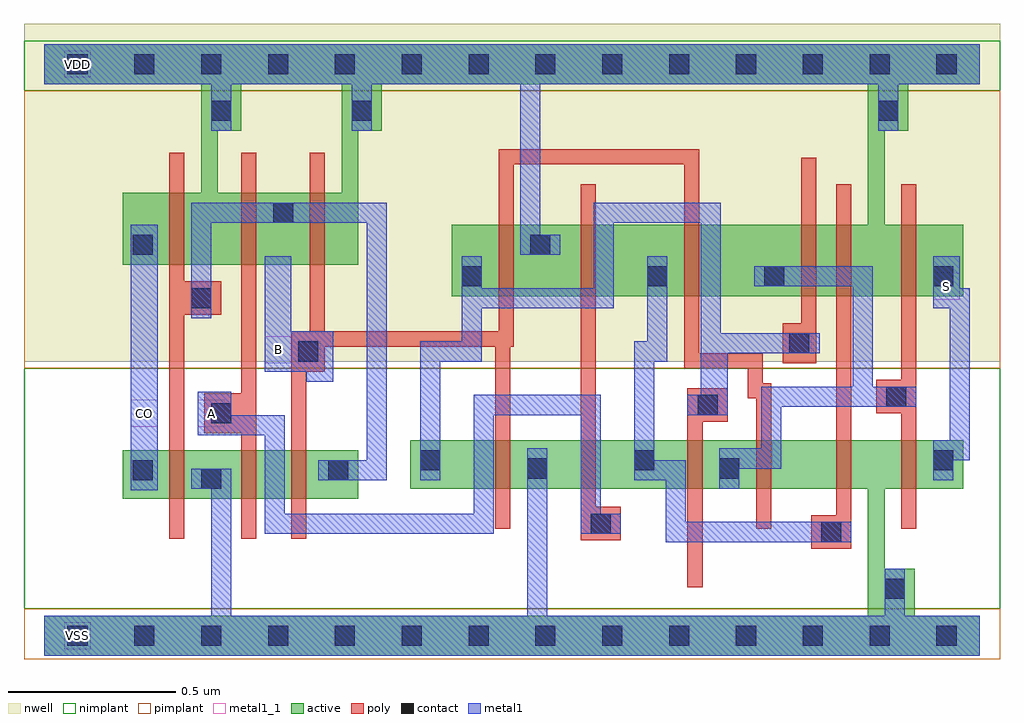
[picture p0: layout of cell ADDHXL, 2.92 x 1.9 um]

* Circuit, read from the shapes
.subckt ADDHXL A B CO S VDD VSS
M1 VSS n1 CO VSS nfet w=0.145u l=0.045u
M2 n2 A VSS VSS nfet w=0.145u l=0.045u
M3 n1 B n2 VSS nfet w=0.145u l=0.045u
M4 VSS B n3 VSS nfet w=0.145u l=0.045u
M5 n4 A VSS VSS nfet w=0.145u l=0.045u
M6 n5 n3 n4 VSS nfet w=0.145u l=0.045u
M7 n6 B n5 VSS nfet w=0.145u l=0.045u
M8 VSS n4 n6 VSS nfet w=0.145u l=0.045u
M9 S n5 VSS VSS nfet w=0.145u l=0.045u
M10 VDD n1 CO VDD pfet w=0.215u l=0.045u
M11 n1 A VDD VDD pfet w=0.215u l=0.045u
M12 VDD B n1 VDD pfet w=0.215u l=0.045u
M13 VDD B n3 VDD pfet w=0.215u l=0.045u
M14 n4 A VDD VDD pfet w=0.215u l=0.045u
M15 n5 B n4 VDD pfet w=0.215u l=0.045u
M16 n7 n3 n5 VDD pfet w=0.215u l=0.045u
M17 VDD n4 n7 VDD pfet w=0.215u l=0.045u
M18 S n5 VDD VDD pfet w=0.215u l=0.045u
.ends

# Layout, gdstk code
import gdstk
lib = gdstk.Library(unit=1e-6, precision=5e-10)
def R(c, l, rs):  # rectangles x0, y0, x1, y1
    for r in rs: c.add(gdstk.rectangle(r[:2], r[2:], *l))
def A(c, l, x, y, w, h, nx, ny, dx, dy):  # array of equal rectangles
    R(c, l, [(x+i*dx, y+j*dy, x+i*dx+w, y+j*dy+h) for i in range(nx) for j in range(ny)])
def P(c, l, *ps):  # polygons
    for p in ps: c.add(gdstk.Polygon(p, *l))
active = (1, 0)
nwell = (2, 0)
poly = (3, 0)
nimplant = (4, 0)
pimplant = (5, 0)
contact = (6, 0)
metal1 = (7, 0)
metal1_1 = (7, 1)

addhxl = lib.new_cell('ADDHXL')
R(addhxl, active, [(0.235,0.41,0.94,0.555)])
P(addhxl, active, [(0,1.77),(2.8,1.77),(2.8,1.65),(2.585,1.65),(2.585,1.51),(2.515,1.51),(2.515,1.23),(2.75,1.23),(2.75,1.015),(1.22,1.015),(1.22,1.23),(2.465,1.23),(2.465,1.65),(1.01,1.65),(1.01,1.51),(0.94,1.51),(0.94,1.11),(0.235,1.11),(0.235,1.325),(0.47,1.325),(0.47,1.65),(0.59,1.65),(0.59,1.51),(0.52,1.51),(0.52,1.325),(0.89,1.325),(0.89,1.65),(0,1.65)],
  [(1.095,0.585),(2.75,0.585),(2.75,0.44),(2.515,0.44),(2.515,0.2),(2.605,0.2),(2.605,0.06),(2.8,0.06),(2.8,-0.06),(0,-0.06),(0,0.06),(2.465,0.06),(2.465,0.44),(1.095,0.44)])
R(addhxl, nwell, [(-0.06,0.82,2.86,1.83)])
P(addhxl, poly, [(0.375,1.445),(0.42,1.445),(0.42,1.06),(0.53,1.06),(0.53,0.96),(0.42,0.96),(0.42,0.29),(0.375,0.29)],
  [(0.59,1.445),(0.635,1.445),(0.635,0.29),(0.59,0.29),(0.59,0.605),(0.48,0.605),(0.48,0.725),(0.59,0.725)],
  [(0.795,1.445),(0.84,1.445),(0.84,0.91),(1.36,0.91),(1.36,1.455),(1.96,1.455),(1.96,0.845),(2.15,0.845),(2.15,0.755),(2.175,0.755),(2.175,0.32),(2.13,0.32),(2.13,0.71),(2.105,0.71),(2.105,0.8),(1.915,0.8),(1.915,1.41),(1.405,1.41),(1.405,0.865),(1.395,0.865),(1.395,0.32),(1.35,0.32),(1.35,0.865),(0.84,0.865),(0.84,0.79),(0.785,0.79),(0.785,0.29),(0.74,0.29),(0.74,0.91),(0.795,0.91)],
  [(1.605,1.35),(1.65,1.35),(1.65,0.385),(1.725,0.385),(1.725,0.285),(1.605,0.285)],
  [(2.265,1.43),(2.31,1.43),(2.31,0.815),(2.21,0.815),(2.21,0.935),(2.265,0.935)],
  [(2.37,1.35),(2.415,1.35),(2.415,0.26),(2.295,0.26),(2.295,0.36),(2.37,0.36)],
  [(2.565,1.35),(2.61,1.35),(2.61,0.32),(2.565,0.32),(2.565,0.665),(2.49,0.665),(2.49,0.765),(2.565,0.765)],
  [(1.925,0.74),(2.045,0.74),(2.045,0.64),(1.97,0.64),(1.97,0.145),(1.925,0.145)])
R(addhxl, nimplant, [(-0.06,0.08,2.86,0.8), (-0.06,1.63,2.86,1.78)])
R(addhxl, pimplant, [(-0.06,-0.07,2.86,0.08), (-0.06,0.8,2.86,1.63)])
A(addhxl, contact, 0.07, -0.03, 0.06, 0.06, 14, 2, 0.2, 1.71)
R(addhxl, contact, [(2.515,0.11,2.575,0.17), (2.325,0.28,2.385,0.34), (1.635,0.305,1.695,0.365), (0.47,0.44,0.53,0.5), (0.265,0.465,0.325,0.525), (0.85,0.465,0.91,0.525), (1.445,0.47,1.505,0.53), (2.02,0.47,2.08,0.53), (1.125,0.495,1.185,0.555), (1.765,0.495,1.825,0.555), (2.66,0.495,2.72,0.555), (0.5,0.635,0.56,0.695), (1.955,0.66,2.015,0.72), (2.52,0.685,2.58,0.745), (0.76,0.82,0.82,0.88), (2.23,0.845,2.29,0.905), (0.44,0.98,0.5,1.04), (1.25,1.045,1.31,1.105), (1.805,1.045,1.865,1.105), (2.155,1.045,2.215,1.105), (2.66,1.045,2.72,1.105), (0.265,1.14,0.325,1.2), (1.455,1.14,1.515,1.2), (0.685,1.235,0.745,1.295), (0.5,1.54,0.56,1.6), (0.92,1.54,0.98,1.6), (2.495,1.54,2.555,1.6)])
R(addhxl, metal1, [(0.26,0.435,0.34,1.23)])
P(addhxl, metal1, [(0,1.77),(2.8,1.77),(2.8,1.65),(2.555,1.65),(2.555,1.51),(2.495,1.51),(2.495,1.65),(1.485,1.65),(1.485,1.2),(1.545,1.2),(1.545,1.14),(1.425,1.14),(1.425,1.65),(0.98,1.65),(0.98,1.51),(0.92,1.51),(0.92,1.65),(0.56,1.65),(0.56,1.51),(0.5,1.51),(0.5,1.65),(0,1.65)],
  [(1.645,1.295),(2.025,1.295),(2.025,0.905),(2.32,0.905),(2.32,0.845),(2.045,0.845),(2.045,0.66),(1.925,0.66),(1.925,0.72),(1.965,0.72),(1.965,1.235),(1.705,1.235),(1.705,0.98),(1.31,0.98),(1.31,0.82),(1.185,0.82),(1.185,0.465),(1.125,0.465),(1.125,0.88),(1.25,0.88),(1.25,1.135),(1.31,1.135),(1.31,1.04),(1.645,1.04)],
  [(0.44,1.295),(1.025,1.295),(1.025,0.465),(0.82,0.465),(0.82,0.525),(0.965,0.525),(0.965,1.235),(0.5,1.235),(0.5,0.95),(0.44,0.95)],
  [(0.66,1.135),(0.74,1.135),(0.74,0.91),(0.865,0.91),(0.865,0.76),(0.785,0.76),(0.785,0.79),(0.66,0.79)],
  [(0.46,0.73),(0.56,0.73),(0.56,0.66),(0.72,0.66),(0.72,0.365),(1.285,0.365),(1.285,0.72),(1.665,0.72),(1.665,0.365),(1.725,0.365),(1.725,0.305),(1.605,0.305),(1.605,0.66),(1.345,0.66),(1.345,0.305),(0.66,0.305),(0.66,0.6),(0.46,0.6)],
  [(0.44,0.5),(0.56,0.5),(0.56,0.06),(1.445,0.06),(1.445,0.56),(1.505,0.56),(1.505,0.06),(2.515,0.06),(2.515,0.2),(2.575,0.2),(2.575,0.06),(2.8,0.06),(2.8,-0.06),(0,-0.06),(0,0.06),(0.5,0.06),(0.5,0.44),(0.44,0.44)],
  [(1.805,1.135),(1.865,1.135),(1.865,0.82),(1.825,0.82),(1.825,0.525),(1.92,0.525),(1.92,0.34),(2.415,0.34),(2.415,0.28),(1.86,0.28),(1.86,0.465),(1.765,0.465),(1.765,0.88),(1.805,0.88)],
  [(2.66,1.135),(2.74,1.135),(2.74,1.04),(2.77,1.04),(2.77,0.525),(2.72,0.525),(2.72,0.465),(2.66,0.465),(2.66,0.585),(2.71,0.585),(2.71,0.98),(2.66,0.98)],
  [(2.125,1.105),(2.48,1.105),(2.48,0.745),(2.61,0.745),(2.61,0.685),(2.205,0.685),(2.205,0.5),(2.08,0.5),(2.08,0.44),(2.02,0.44),(2.02,0.56),(2.145,0.56),(2.145,0.745),(2.42,0.745),(2.42,1.045),(2.125,1.045)])
R(addhxl, metal1_1, [(0.06,-0.04,0.14,0.04), (0.26,0.625,0.34,0.705), (0.46,0.625,0.54,0.705), (0.66,0.815,0.74,0.895), (2.66,1.005,2.74,1.085), (0.06,1.67,0.14,1.75)])
addhxl.add(gdstk.Label('S', (2.7,1.045), layer=7, texttype=1))
addhxl.add(gdstk.Label('CO', (0.3,0.665), layer=7, texttype=1))
addhxl.add(gdstk.Label('B', (0.7,0.855), layer=7, texttype=1))
addhxl.add(gdstk.Label('A', (0.5,0.665), layer=7, texttype=1))
addhxl.add(gdstk.Label('VDD', (0.1,1.71), layer=7, texttype=1))
addhxl.add(gdstk.Label('VSS', (0.1,0), layer=7, texttype=1))
addhxl.add(gdstk.Label('ADDHXL', (0,0), layer=63, texttype=0))

lib.write_gds('ADDHXL.gds')
